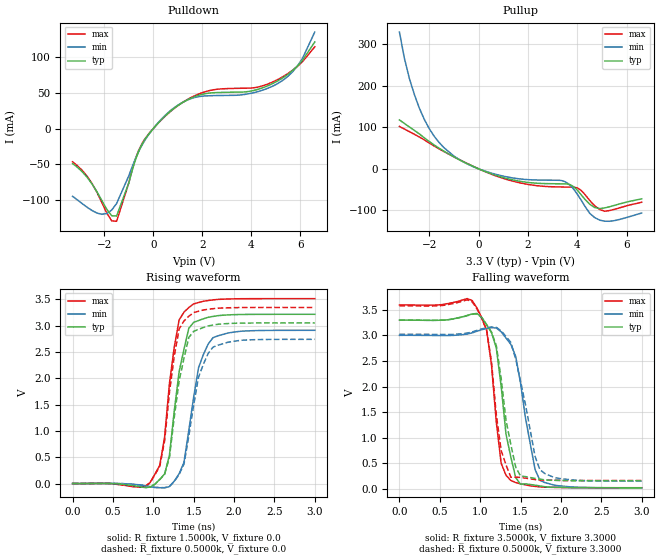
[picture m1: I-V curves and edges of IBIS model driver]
| IBIS file buffer.ibs created by s2ibis3 verion 1.0
| North Carolina State University, ERL, 2003
[IBIS ver]	3.2
[File name]	buffer.ibs
[File Rev]	0
[Date]		April 1, 2004
[Source]	From MegaFLOPS Inc. layout and silicon models.
[Notes]		I really wouldn't try to use this driver.  It's really bad.
[Disclaimer]	 This file is only for demonstration purposes. It describes
		 a really crummy driver. You can put blank lines in any
		 of these sections. (But s2ibis3 won't print them.) Of course,
		 as noted in the documentation, any text in these sections
		 is truncated at 1KB.
[Copyright]	Copyright 2004 MegaFLOPS Inc.
|   Component MCM Driver 1
[Component]	MCM Driver 1
[Manufacturer]	MegaFLOPS Inc.
[Package]
| variable   typ   min   max
R_pkg   2.0000m   1.0000m   4.0000m
L_pkg   0.2000nH   0.1000nH   0.4000nH
C_pkg   2.0000pF   1.0000pF   4.0000pF
[Pin]  signal_name   model_name   R_pin   L_pin   C_pin
vdd   vdd   POWER
gnd   gnd   GND
|in   in   dummy
out   out   driver
| Models and submodels in the file (1): driver (Output)
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|   Model driver
[Model]		driver
Model_type	Output
Polarity   Non-Inverting
C_comp   5.0000pF   5.0000pF   5.0000pF
[Temperature Range]	  27.0000   100.0000   0.0
[Voltage Range]   3.3000V   3.0000V   3.6000V
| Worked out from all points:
|   slope of the pulldown table from 0 to 0.495 V, typ, clamps not added: 27.4 ohm
|   slope of the pullup table from 0 to 0.495 V, typ, clamps not added: 42.7 ohm
|   rising waveform, R_fixture 1.5000k, V_fixture 0.0: 20-80 % time 176ps typ, 194ps min, 165ps max; typ from 0 V to 3.21 V
|   rising waveform, R_fixture 0.5000k, V_fixture 0.0: 20-80 % time 181ps typ, 202ps min, 167ps max; typ from 0 V to 3.05 V
|   falling waveform, R_fixture 3.5000k, V_fixture 3.3000: 20-80 % time 163ps typ, 191ps min, 143ps max; typ from 3.3 V to 0.023 V
|   falling waveform, R_fixture 0.5000k, V_fixture 3.3000: 20-80 % time 179ps typ, 217ps min, 152ps max; typ from 3.3 V to 0.159 V
[Pulldown]
|Voltage	  I(typ)   I(min)   I(max)
-3.3V     -48.93mA   -94.81mA   -46.54mA
-2.7V     -68.42mA   -110.3mA   -66.99mA
-2.1V     -100.9mA   -120mA     -103.7mA
-1.7V     -122mA     -114.1mA   -129.2mA
-1.5V     -122.5mA   -104.9mA   -129.8mA
-500mV    -24.59mA   -25.57mA   -23.54mA
600mV     21.34mA    22.16mA    20.91mA
2.1V      48.76mA    45.67mA    51.37mA
3.9V      51.99mA    48.8mA     56.66mA
5.1V      67.01mA    63.35mA    68.88mA
5.9V      87.99mA    88.06mA    87.42mA
6.6V      121.3mA    135.2mA    114.5mA
[Pullup]
|Voltage	  I(typ)   I(min)   I(max)
-3.2V     117.8mA    329.8mA    102.1mA
-2.8V     101mA      218.3mA    89.65mA
-2.2V     74.95mA    119.8mA    70.01mA
-1.6V     49.77mA    63.81mA    48.21mA
-1V       28.83mA    30.99mA    28.96mA
-100mV    2.606mA    2.298mA    2.763mA
1.2V      -24.23mA   -20.14mA   -26.75mA
3.5V      -36.42mA   -31.25mA   -44.04mA
4.1V      -58.78mA   -70.62mA   -49.84mA
4.5V      -85.43mA   -107.5mA   -76.41mA
4.9V      -96.11mA   -123.8mA   -98.02mA
6.6V      -72.53mA   -106.7mA   -80.71mA
[Ramp]
| variable   typ   min   max
dV/dt_r		1.8306/0.1783n   1.6440/0.1942n   2.0070/0.1534n
dV/dt_f		1.8846/0.1736n   1.7182/0.2164n   2.0519/0.1395n
R_load =	0.5000k
[Rising Waveform]
R_fixture=	1.5000k
V_fixture=	0.0
|time   V(typ)   V(min)   V(max)
0s        223uV      217.6uV    204.5uV
960ps     -67.52mV   -61.65mV   18.12mV
1.08ns    78.36mV    -79.08mV   347.6mV
1.14ns    181.7mV    -81.63mV   879.2mV
1.2ns     536.3mV    -57.99mV   1.899V
1.32ns    2.126V     186.6mV    3.107V
1.44ns    2.95V      1.011V     3.344V
1.56ns    3.096V     2.197V     3.438V
1.74ns    3.175V     2.772V     3.489V
3ns       3.215V     2.911V     3.513V
[Rising Waveform]
R_fixture=	0.5000k
V_fixture=	0.0
|time   V(typ)   V(min)   V(max)
0s        217.3uV    212.4uV    198.4uV
960ps     -65.47mV   -59.8mV    17.3mV
1.08ns    75.53mV    -76.28mV   328mV
1.2ns     497.1mV    -55.22mV   1.732V
1.32ns    1.952V     171.8mV    2.936V
1.38ns    2.376V     367.8mV    3.089V
1.5ns     2.891V     1.49V      3.248V
1.56ns    2.929V     2.017V     3.272V
1.74ns    3.01V      2.591V     3.322V
3ns       3.051V     2.74V      3.345V
[Falling Waveform]
R_fixture=	3.5000k
V_fixture=	3.3000
|time   V(typ)   V(min)   V(max)
0s        3.3V       3.002V     3.596V
960ps     3.43V      3.083V     3.539V
1.08ns    3.209V     3.135V     3.104V
1.2ns     2.757V     3.146V     1.306V
1.26ns    2.009V     3.072V     502.7mV
1.38ns    621.7mV    2.826V     165.6mV
1.5ns     92.23mV    2.07V      100.9mV
1.68ns    73.73mV    381.7mV    50.39mV
1.74ns    59.01mV    167.9mV    39.87mV
3ns       22.97mV    21.85mV    23.93mV
[Falling Waveform]
R_fixture=	0.5000k
V_fixture=	3.3000
|time   V(typ)   V(min)   V(max)
0s        3.3V       3.023V     3.579V
960ps     3.422V     3.099V     3.521V
1.08ns    3.212V     3.148V     3.105V
1.14ns    3.068V     3.167V     2.489V
1.2ns     2.799V     3.159V     1.452V
1.26ns    2.162V     3.091V     753.4mV
1.38ns    866.8mV    2.865V     228.4mV
1.5ns     252.1mV    2.107V     224.4mV
1.74ns    191.5mV    376.5mV    172.9mV
3ns       159mV      150.6mV    164.7mV
